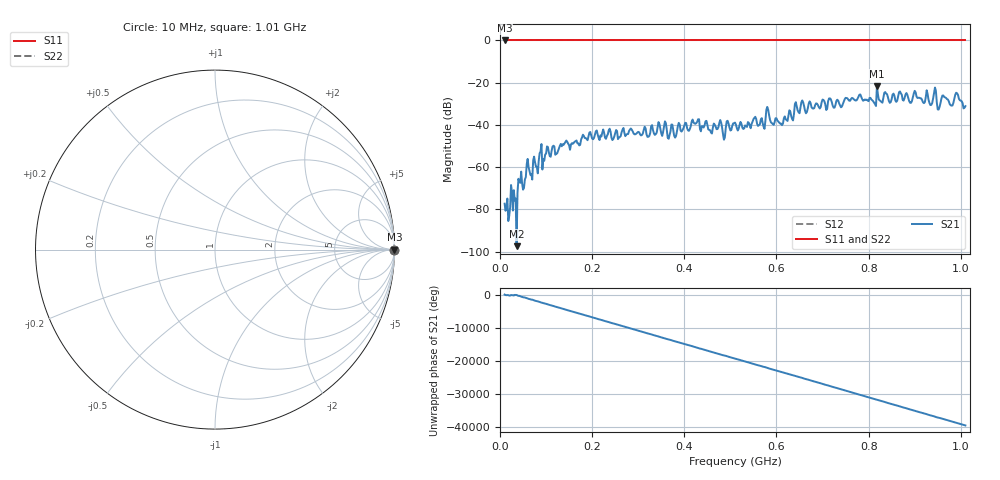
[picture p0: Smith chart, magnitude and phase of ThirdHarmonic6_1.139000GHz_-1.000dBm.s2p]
! 8/16/2025 11:10:37 AM
! C:\ANRITSUVNA\TEMP\TEMP.S2P
! CHANNEL.1
! TR.MEASUREMENT
! RAW.DATA
! RF.CORRECTION.OFF
! AVERAGING.OFF
! IF.BANDWIDTH: 5KHZ
! SWEEPTYPE:  FREQ.SWEEP(Linear)
! Reference Plane Port Info
! PORT:  PORT1  PORT2
! DISTANCE:  0  m  0  m
! TIME:  0  s  0  s
! PHASE.OFFSET:  0  deg.  0  deg.
! LOSS:  0  dB  0  dB
! REF.LOSS:  0  dB  0  dB
! REF.FREQ:  0  Hz  0  Hz
! Power Info
! POWER:  -20  dBm  -20  dBm
! EFF.POWER:  -20  dBm  -20  dBm
! SOURCE.ATTEN:  0  dB  0  dB
! TEST.ATTEN:  0  dB  0  dB
# GHZ S RI R 50.0
! FREQ.GHZ  S11RE  S11IM  S21RE  S21IM  S12RE  S12IM  S22RE  S22IM
!; PortSelection: Port_12
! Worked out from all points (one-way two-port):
!   501 points, 10 MHz to 1.01 GHz, reference 50 ohm
!   highest |S21| = -21.62 dB at 818 MHz (marker M1); lowest = -97.5 dB at 36 MHz (marker M2)
!   lowest |S11| = 0.0 dB at 10 MHz (marker M3)
!   |S11| at or under -10 dB: nowhere
!   |S22| runs from 0.0 to 0.0 dB; largest |S21 - S12| = 1.1
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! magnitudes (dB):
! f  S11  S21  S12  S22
! 10 MHz  0.0  -77.3  0.0  0.0
! 36 MHz  0.0  -97.5  0.0  0.0
! 44 MHz  0.0  -67.5  0.0  0.0
! 52 MHz  0.0  -69.9  0.0  0.0
! 86 MHz  0.0  -53.4  0.0  0.0
! 178 MHz  0.0  -45.9  0.0  0.0
! 344 MHz  0.0  -38.7  0.0  0.0
! 380 MHz  0.0  -46.0  0.0  0.0
! 428 MHz  0.0  -38.5  0.0  0.0
! 486 MHz  0.0  -47.0  0.0  0.0
! 510 MHz  0.0  -38.9  0.0  0.0
! 572 MHz  0.0  -40.8  0.0  0.0
! 582 MHz  0.0  -32.8  0.0  0.0
! 610 MHz  0.0  -39.4  0.0  0.0
! 656 MHz  0.0  -28.4  0.0  0.0
! 678 MHz  0.0  -32.2  0.0  0.0
! 818 MHz  0.0  -21.6  0.0  0.0
! 844 MHz  0.0  -28.7  0.0  0.0
! 944 MHz  0.0  -22.3  0.0  0.0
! 952 MHz  0.0  -32.7  0.0  0.0
! 992 MHz  0.0  -25.0  0.0  0.0
! 1.01 GHz  0.0  -31.1  0.0  0.0
